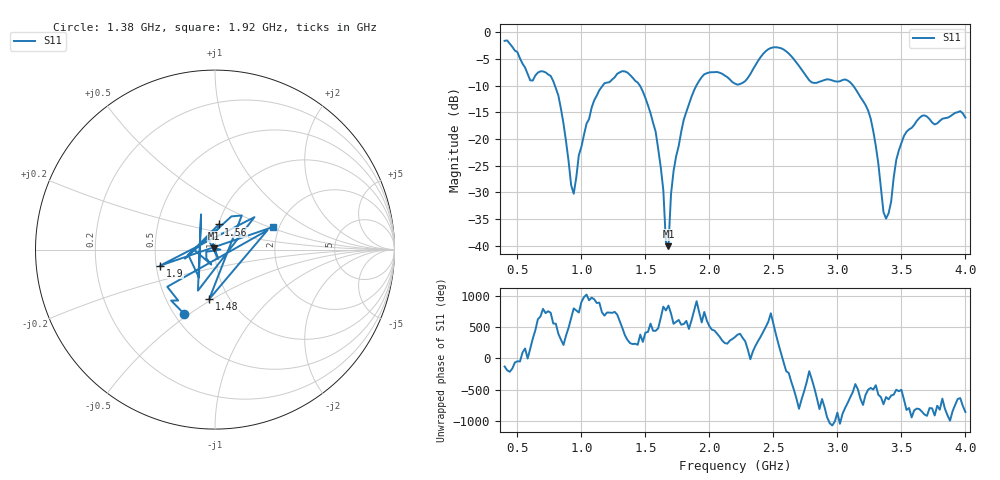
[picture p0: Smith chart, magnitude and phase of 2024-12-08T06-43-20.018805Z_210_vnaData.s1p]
!Created with skrf (http://scikit-rf.org).
# Hz S RI R 50.0
!freq ReS11 ImS11
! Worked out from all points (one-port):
!   181 points, 400 MHz to 4 GHz, reference 50 ohm
!   lowest |S11| = -40.0 dB at 1.68 GHz (marker M1), VSWR 1.02, Z = 49.4 + j0.792 ohm
!   |S11| at or under -10 dB: 792.6 MHz to 1.167 GHz (374.1 MHz wide, 38.2 % of centre); 1.456 GHz to 1.898 GHz (442.1 MHz wide, 26.4 % of centre); 3.122 GHz to end of sweep
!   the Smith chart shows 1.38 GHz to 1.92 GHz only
!   S11 on the Smith chart (normalised r, x): 1.38 GHz: 0.56, -0.48; 1.48 GHz: 0.81, -0.48; 1.56 GHz: 1.00, +0.29; 1.9 GHz: 0.52, -0.10; 1.92 GHz: 1.86, +0.54
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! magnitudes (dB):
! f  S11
! 400 MHz  -1.6
! 600 MHz  -9.0
! 760 MHz  -8.2
! 860 MHz  -17.1
! 940 MHz  -30.2
! 980 MHz  -23.0
! 1.1 GHz  -12.8
! 1.3 GHz  -7.5
! 1.38 GHz  -8.0
! 1.48 GHz  -11.1
! 1.56 GHz  -17.0
! 1.62 GHz  -25.3
! 1.66 GHz  -39.3
! 1.68 GHz  -40.0
! 1.7 GHz  -30.4
! 1.76 GHz  -21.3
! 1.9 GHz  -9.9
! 1.92 GHz  -9.1
! 2.2 GHz  -9.6
! 2.48 GHz  -3.0
! 2.66 GHz  -5.1
! 2.8 GHz  -9.4
! 3.1 GHz  -9.4
! 3.26 GHz  -16.2
! 3.38 GHz  -34.9
! 3.46 GHz  -23.9
! 3.56 GHz  -18.2
! 4 GHz  -16.0
